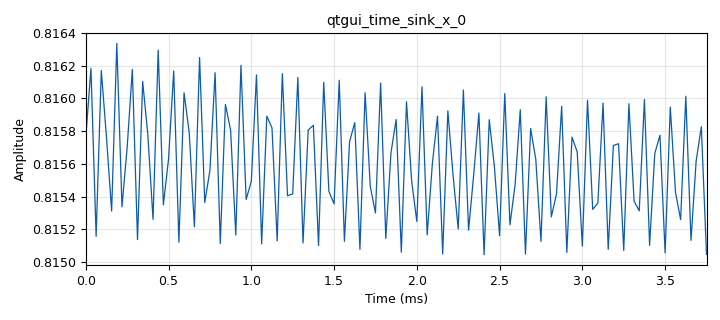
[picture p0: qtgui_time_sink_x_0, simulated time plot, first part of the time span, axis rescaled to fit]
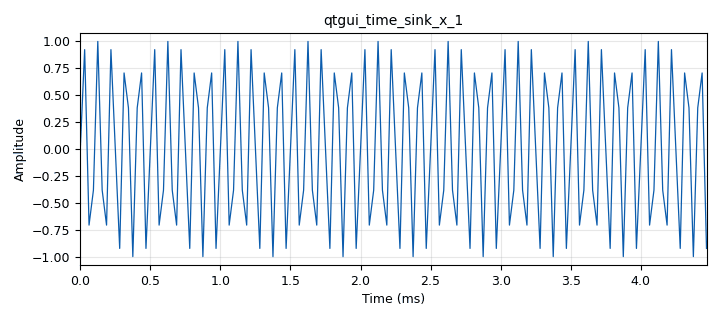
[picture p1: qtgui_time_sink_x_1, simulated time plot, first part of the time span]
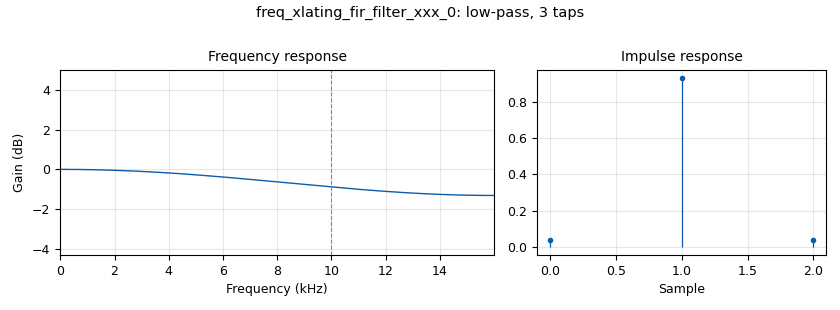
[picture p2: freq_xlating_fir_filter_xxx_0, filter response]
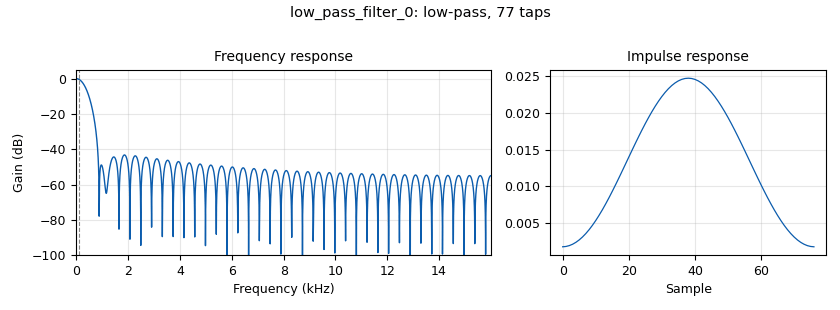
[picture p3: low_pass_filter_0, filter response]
<?xml version='1.0' encoding='utf-8'?>
<?grc format='1' created='3.7.14'?>
<flow_graph>
<block>
<key>options</key>
<param><key>id</key><value>top_block</value></param>
<param><key>generate_options</key><value>qt_gui</value></param>
</block>
<block>
<key>variable_qtgui_range</key>
<param><key>id</key><value>M</value></param>
<param><key>value</key><value>10</value></param>
<param><key>gui_hint</key><value>6,0,1,4</value></param>
<param><key>orient</key><value>Qt.Horizontal</value></param>
<param><key>start</key><value>10</value></param>
<param><key>step</key><value>1</value></param>
<param><key>stop</key><value>1000</value></param>
</block>
<block>
<key>variable_qtgui_range</key>
<param><key>id</key><value>carrier_R</value></param>
<param><key>value</key><value>10000</value></param>
<param><key>gui_hint</key><value>4,0,1,4</value></param>
<param><key>orient</key><value>Qt.Horizontal</value></param>
<param><key>start</key><value>10000</value></param>
<param><key>step</key><value>10</value></param>
<param><key>stop</key><value>100000</value></param>
</block>
<block>
<key>variable</key>
<param><key>id</key><value>filter_taps</value></param>
<param><key>value</key><value>firdes.low_pass(1,samp_rate,carrier_R,25000,firdes.WIN_HAMMING,6.76)</value></param>
</block>
<block>
<key>variable_qtgui_range</key>
<param><key>id</key><value>noise_range</value></param>
<param><key>value</key><value>0</value></param>
<param><key>gui_hint</key><value>5,0,1,4</value></param>
<param><key>orient</key><value>Qt.Horizontal</value></param>
<param><key>start</key><value>0</value></param>
<param><key>step</key><value>0.01</value></param>
<param><key>stop</key><value>1</value></param>
</block>
<block>
<key>variable</key>
<param><key>id</key><value>samp_rate</value></param>
<param><key>value</key><value>32000</value></param>
</block>
<block>
<key>analog_sig_source_x</key>
<param><key>id</key><value>analog_sig_source_x_0</value></param>
<param><key>amp</key><value>1</value></param>
<param><key>freq</key><value>M</value></param>
<param><key>offset</key><value>0</value></param>
<param><key>type</key><value>float</value></param>
<param><key>samp_rate</key><value>samp_rate</value></param>
<param><key>waveform</key><value>analog.GR_SQR_WAVE</value></param>
</block>
<block>
<key>analog_sig_source_x</key>
<param><key>id</key><value>analog_sig_source_x_1</value></param>
<param><key>amp</key><value>1</value></param>
<param><key>freq</key><value>carrier_R</value></param>
<param><key>offset</key><value>0</value></param>
<param><key>type</key><value>float</value></param>
<param><key>samp_rate</key><value>samp_rate</value></param>
<param><key>waveform</key><value>analog.GR_SIN_WAVE</value></param>
</block>
<block>
<key>blocks_add_const_vxx</key>
<param><key>id</key><value>blocks_add_const_vxx_0</value></param>
<param><key>const</key><value>1</value></param>
<param><key>type</key><value>float</value></param>
</block>
<block>
<key>blocks_complex_to_mag_squared</key>
<param><key>id</key><value>blocks_complex_to_mag_squared_0</value></param>
</block>
<block>
<key>blocks_float_to_complex</key>
<param><key>id</key><value>blocks_float_to_complex_0</value></param>
</block>
<block>
<key>blocks_multiply_xx</key>
<param><key>id</key><value>blocks_multiply_xx_0</value></param>
<param><key>type</key><value>float</value></param>
</block>
<block>
<key>channels_channel_model</key>
<param><key>id</key><value>channels_channel_model_0</value></param>
<param><key>epsilon</key><value>1.0</value></param>
<param><key>freq_offset</key><value>0.0</value></param>
<param><key>noise_voltage</key><value>0.0</value></param>
<param><key>seed</key><value>0</value></param>
<param><key>taps</key><value>1.0 + 1.0j</value></param>
</block>
<block>
<key>digital_clock_recovery_mm_xx</key>
<param><key>id</key><value>digital_clock_recovery_mm_xx_0</value></param>
<param><key>gain_mu</key><value>0.175</value></param>
<param><key>gain_omega</key><value>0.25*0.175*0.175</value></param>
<param><key>mu</key><value>0.5</value></param>
<param><key>omega_relative_limit</key><value>0.005</value></param>
<param><key>omega</key><value>1</value></param>
<param><key>type</key><value>float</value></param>
</block>
<block>
<key>freq_xlating_fir_filter_xxx</key>
<param><key>id</key><value>freq_xlating_fir_filter_xxx_0</value></param>
<param><key>center_freq</key><value>0</value></param>
<param><key>decim</key><value>1</value></param>
<param><key>samp_rate</key><value>samp_rate</value></param>
<param><key>taps</key><value>filter_taps</value></param>
<param><key>type</key><value>ccc</value></param>
</block>
<block>
<key>low_pass_filter</key>
<param><key>id</key><value>low_pass_filter_0</value></param>
<param><key>cutoff_freq</key><value>100</value></param>
<param><key>decim</key><value>1</value></param>
<param><key>type</key><value>fir_filter_fff</value></param>
<param><key>gain</key><value>1</value></param>
<param><key>samp_rate</key><value>samp_rate</value></param>
<param><key>width</key><value>1000</value></param>
<param><key>win</key><value>firdes.WIN_HAMMING</value></param>
</block>
<block>
<key>qtgui_time_sink_x</key>
<param><key>id</key><value>qtgui_time_sink_x_0</value></param>
<param><key>gui_hint</key><value>0,0,3,3</value></param>
<param><key>color1</key><value>"blue"</value></param>
<param><key>label1</key><value></value></param>
<param><key>size</key><value>1024</value></param>
<param><key>srate</key><value>samp_rate</value></param>
<param><key>type</key><value>float</value></param>
</block>
<block>
<key>qtgui_time_sink_x</key>
<param><key>id</key><value>qtgui_time_sink_x_1</value></param>
<param><key>gui_hint</key><value>0,3,3,3</value></param>
<param><key>color1</key><value>"blue"</value></param>
<param><key>label1</key><value></value></param>
<param><key>size</key><value>1024</value></param>
<param><key>srate</key><value>samp_rate</value></param>
<param><key>type</key><value>float</value></param>
</block>
<connection><source_block_id>analog_sig_source_x_0</source_block_id><sink_block_id>blocks_add_const_vxx_0</sink_block_id><source_key>0</source_key><sink_key>0</sink_key></connection>
<connection><source_block_id>analog_sig_source_x_1</source_block_id><sink_block_id>blocks_multiply_xx_0</sink_block_id><source_key>0</source_key><sink_key>0</sink_key></connection>
<connection><source_block_id>blocks_add_const_vxx_0</source_block_id><sink_block_id>blocks_multiply_xx_0</sink_block_id><source_key>0</source_key><sink_key>1</sink_key></connection>
<connection><source_block_id>blocks_complex_to_mag_squared_0</source_block_id><sink_block_id>low_pass_filter_0</sink_block_id><source_key>0</source_key><sink_key>0</sink_key></connection>
<connection><source_block_id>blocks_float_to_complex_0</source_block_id><sink_block_id>channels_channel_model_0</sink_block_id><source_key>0</source_key><sink_key>0</sink_key></connection>
<connection><source_block_id>blocks_multiply_xx_0</source_block_id><sink_block_id>blocks_float_to_complex_0</sink_block_id><source_key>0</source_key><sink_key>0</sink_key></connection>
<connection><source_block_id>blocks_multiply_xx_0</source_block_id><sink_block_id>qtgui_time_sink_x_1</sink_block_id><source_key>0</source_key><sink_key>0</sink_key></connection>
<connection><source_block_id>channels_channel_model_0</source_block_id><sink_block_id>freq_xlating_fir_filter_xxx_0</sink_block_id><source_key>0</source_key><sink_key>0</sink_key></connection>
<connection><source_block_id>digital_clock_recovery_mm_xx_0</source_block_id><sink_block_id>qtgui_time_sink_x_0</sink_block_id><source_key>0</source_key><sink_key>0</sink_key></connection>
<connection><source_block_id>freq_xlating_fir_filter_xxx_0</source_block_id><sink_block_id>blocks_complex_to_mag_squared_0</sink_block_id><source_key>0</source_key><sink_key>0</sink_key></connection>
<connection><source_block_id>low_pass_filter_0</source_block_id><sink_block_id>digital_clock_recovery_mm_xx_0</sink_block_id><source_key>0</source_key><sink_key>0</sink_key></connection>
</flow_graph>
